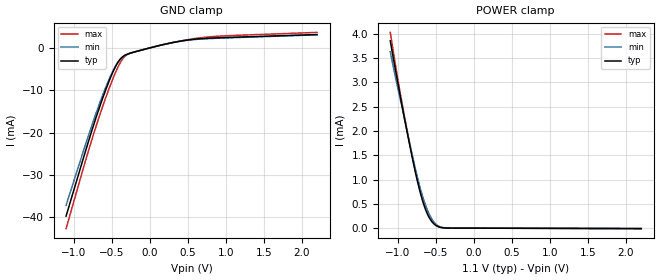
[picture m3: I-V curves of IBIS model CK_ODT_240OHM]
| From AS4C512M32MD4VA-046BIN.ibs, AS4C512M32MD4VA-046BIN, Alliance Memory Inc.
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|   MODEL: CK_ODT_240OHM
[Model]   CK_ODT_240OHM
Model_type   Input
Vinl   = 0.080V
Vinh   = 0.220V
|   typ   min   max
C_comp   0.528pF   0.475pF   0.581pF
[Voltage Range]   1.100V   1.060V   1.170V
[Temperature Range]   25.0   85.0   -40.0
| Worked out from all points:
|   GND clamp passes 1 mA (typ) near -0.21 V on its own axis
|   POWER clamp passes 1 mA (typ) near -0.75 V on its own axis
[GND Clamp]
|   Voltage   I(typ)   I(min)   I(max)
-1.1V     -39.78mA   -37.24mA   -42.74mA
-800mV    -21.79mA   -20.41mA   -24mA
-680mV    -15.08mA   -14.13mA   -17.12mA
-580mV    -9.982mA   -9.372mA   -11.85mA
-500mV    -6.347mA   -6.05mA    -8.007mA
-430mV    -3.757mA   -3.729mA   -5.015mA
-370mV    -2.31mA    -2.39mA    -2.953mA
-310mV    -1.593mA   -1.647mA   -1.722mA
-220mV    -1.054mA   -1.059mA   -1.03mA
240mV     1.039mA    1.024mA    1.038mA
670mV     2.187mA    2.095mA    2.406mA
2.2V      3.162mA    3.103mA    3.675mA
[POWER Clamp]
|   Voltage   I(typ)   I(min)   I(max)
-1.1V     3.851mA    3.627mA    4.024mA
-1.01V    3.068mA    2.943mA    3.148mA
-940mV    2.475mA    2.45mA     2.525mA
-830mV    1.601mA    1.643mA    1.622mA
-760mV    1.083mA    1.157mA    1.12mA
-690mV    643.2uA    731.8uA    715.5uA
-630mV    358.7uA    440.6uA    438.9uA
-560mV    148.8uA    200.5uA    201.9uA
-490mV    45.81uA    66.93uA    65.76uA
-420mV    10.66uA    16.47uA    14.44uA
-300mV    1.463uA    1.927uA    1.468uA
2.2V      -8.447uA   -10.11uA   -8.398uA
